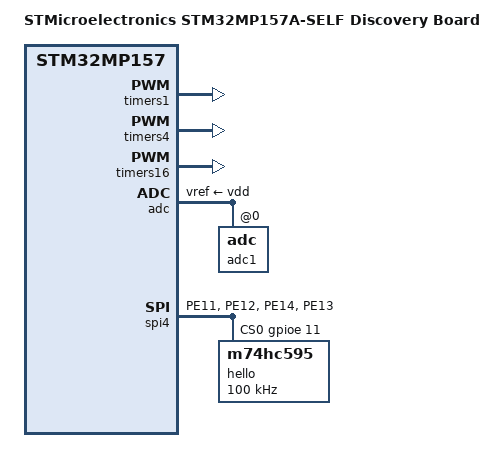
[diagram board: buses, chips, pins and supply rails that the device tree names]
// SPDX-License-Identifier: (GPL-2.0+ OR BSD-3-Clause)
/*
 * Copyright (C) STMicroelectronics 2019 - All Rights Reserved
 * Author: Alexandre Torgue <alexandre.torgue@st.com> for STMicroelectronics.
 */

/dts-v1/;

#include "stm32mp157.dtsi"
#include "stm32mp15xa.dtsi"
#include "stm32mp15-pinctrl.dtsi"
#include "stm32mp15xxac-pinctrl.dtsi"
#include "stm32mp15xx-self.dtsi"
#include "stm32mp157a-self-scmi.dtsi"

/ {
	model = "STMicroelectronics STM32MP157A-SELF Discovery Board";
	compatible = "st,stm32mp157a-self", "st,stm32mp157";

	aliases {
		ethernet0 = &ethernet0;
	};

	chosen {
		stdout-path = "serial0:115200n8";
	};
};

&pinctrl {
	pwm1_pins_c: pwm1-1 {
		pins {
			pinmux = <STM32_PINMUX('E', 9, AF1)>; /* TIM1_CH1 fan */
			bias-pull-down;
			drive-push-pull;
			slew-rate = <0>;
		};
	};

	pwm1_sleep_pins_c: pwm1-sleep-1 {
		pins {
			pinmux = <STM32_PINMUX('E', 9, ANALOG)>; /* TIM1_CH1 fan */
		};
	};

	pwm4_pins_c: pwm4-0 {
		pins {
			pinmux = <STM32_PINMUX('B', 6, AF2)>; /* TIM4_CH1 beep */
			bias-pull-down;
			drive-push-pull;
			slew-rate = <0>;
		};
	};

	pwm4_sleep_pins_c: pwm4-sleep-0 {
		pins {
			pinmux = <STM32_PINMUX('B', 6, ANALOG)>; /* TIM4_CH1 beep */
		};
	};

	pwm16_pins_a: pwm16-0 {
		pins {
			pinmux = <STM32_PINMUX('F', 6, AF1)>; /* TIM16_CH1 motor */
			bias-pull-down;
			drive-push-pull;
			slew-rate = <0>;
		};
	};

	pwm16_sleep_pins_a: pwm16-sleep-0 {
		pins {
			pinmux = <STM32_PINMUX('F', 6, ANALOG)>; /* TIM16_CH1 motor */
		};
	};

	spi4_pins_c: spi4-2 {
		pins {
			pinmux = <STM32_PINMUX('E', 11, AF5)>, /* SPI4_NSS */
					<STM32_PINMUX('E', 12, AF5)>, /* SPI4_SCK */
					<STM32_PINMUX('E', 14, AF5)>; /* SPI4_MOSI */
			bias-disable;
			drive-push-pull;
			slew-rate = <1>;
		};
		pins2 {
			pinmux = <STM32_PINMUX('E', 13, AF5)>; /* SPI4_MISO */
			bias-disable;
		};
	};
};

&timers1 {
	/* spare dmas for other usage */
	/delete-property/dmas;
	/delete-property/dma-names;
	status = "okay";

	pwm1: pwm {
		label = "beep";
		pinctrl-0 = <&pwm1_pins_c>;
		pinctrl-1 = <&pwm1_sleep_pins_c>;
		pinctrl-names = "default", "sleep";
		#pwm-cells = <2>;
		status = "okay";
	};
};

&timers4 {
	/* spare dmas for other usage */
	/delete-property/dmas;
	/delete-property/dma-names;
	status = "okay";

	pwm4: pwm {
		label = "fans";
		pinctrl-0 = <&pwm4_pins_c>;
		pinctrl-1 = <&pwm4_sleep_pins_c>;
		pinctrl-names = "default", "sleep";
		#pwm-cells = <2>;
		status = "okay";
	};
};

&timers16 {
	/* spare dmas for other usage */
	/delete-property/dmas;
	/delete-property/dma-names;
	status = "okay";

	pwm16: pwm {
		label = "motor";
		pinctrl-0 = <&pwm16_pins_a>;
		pinctrl-1 = <&pwm16_sleep_pins_a>;
		pinctrl-names = "default", "sleep";
		#pwm-cells = <2>;
		status = "okay";
	};
};

&adc {
	vdd-supply = <&vdd>;
	vdda-supply = <&vdd>;
	vref-supply = <&vdd>;
	status = "okay";

	adc1: adc@0 {
		st,adc-channels = <0 1>;
		st,min-sample-time-nsecs = <10000>;
		status = "okay";
	};
};

&spi4 {
	pinctrl-names = "default", "sleep";
	pinctrl-0 = <&spi4_pins_c>;
	cs-gpios = <&gpioe 11 0>;
	status = "okay";

	m74hc595: m74hc595@0 {
		compatible = "m74hc595";
		label = "hello";
		reg = <0>;
		spi-max-frequency = <100000>;
	};
};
